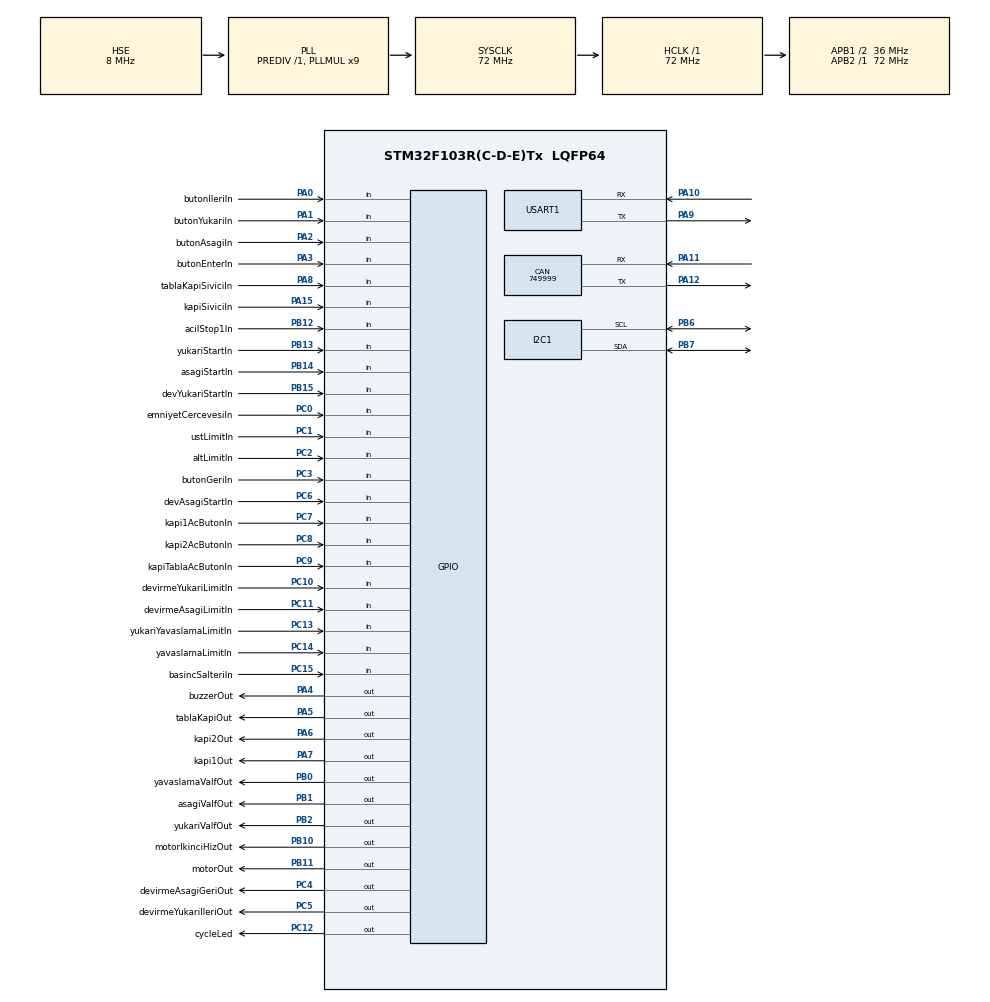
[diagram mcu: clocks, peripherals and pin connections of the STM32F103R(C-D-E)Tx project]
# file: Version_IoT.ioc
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CAN.CalculateBaudRate=749999
CAN.CalculateTimeBit=1333
CAN.CalculateTimeQuantum=444.44444444444446
I2C1.I2C_Mode=I2C_Fast
Mcu.Family=STM32F1
Mcu.Name=STM32F103R(C-D-E)Tx
Mcu.Package=LQFP64
NVIC.PriorityGroup=NVIC_PRIORITYGROUP_4
NVIC.TIM1_UP_IRQn=true\:0\:0\:false\:false\:true\:true\:true\:true
NVIC.USART1_IRQn=true\:0\:0\:false\:false\:true\:true\:true\:true
PA0-WKUP.GPIO_Label=butonIleriIn
PA0-WKUP.Signal=GPIO_Input
PA1.GPIO_Label=butonYukariIn
PA1.Signal=GPIO_Input
PA10.Mode=Asynchronous
PA10.Signal=USART1_RX
PA11.Mode=CAN_Activate
PA11.Signal=CAN_RX
PA12.Mode=CAN_Activate
PA12.Signal=CAN_TX
PA13.Mode=Serial_Wire
PA13.Signal=SYS_JTMS-SWDIO
PA14.Mode=Serial_Wire
PA14.Signal=SYS_JTCK-SWCLK
PA15.GPIO_Label=kapiSiviciIn
PA15.Signal=GPIO_Input
PA2.GPIO_Label=butonAsagiIn
PA2.Signal=GPIO_Input
PA3.GPIO_Label=butonEnterIn
PA3.Signal=GPIO_Input
PA4.GPIO_Label=buzzerOut
PA4.Signal=GPIO_Output
PA5.GPIO_Label=tablaKapiOut
PA5.Signal=GPIO_Output
PA6.GPIO_Label=kapi2Out
PA6.Signal=GPIO_Output
PA7.GPIO_Label=kapi1Out
PA7.Signal=GPIO_Output
PA8.GPIO_Label=tablaKapiSiviciIn
PA8.Signal=GPIO_Input
PA9.Mode=Asynchronous
PA9.Signal=USART1_TX
PB0.GPIO_Label=yavaslamaValfOut
PB0.Signal=GPIO_Output
PB1.GPIO_Label=asagiValfOut
PB1.Signal=GPIO_Output
PB10.GPIO_Label=motorIkinciHizOut
PB10.Signal=GPIO_Output
PB11.GPIO_Label=motorOut
PB11.Signal=GPIO_Output
PB12.GPIO_Label=acilStop1In
PB12.Signal=GPIO_Input
PB13.GPIO_Label=yukariStartIn
PB13.Signal=GPIO_Input
PB14.GPIO_Label=asagiStartIn
PB14.Signal=GPIO_Input
PB15.GPIO_Label=devYukariStartIn
PB15.Signal=GPIO_Input
PB2.GPIO_Label=yukariValfOut
PB2.Signal=GPIO_Output
PB6.Mode=I2C
PB6.Signal=I2C1_SCL
PB7.Mode=I2C
PB7.Signal=I2C1_SDA
PC0.GPIO_Label=emniyetCercevesiIn
PC0.Signal=GPIO_Input
PC1.GPIO_Label=ustLimitIn
PC1.Signal=GPIO_Input
PC10.GPIO_Label=devirmeYukariLimitIn
PC10.Signal=GPIO_Input
PC11.GPIO_Label=devirmeAsagiLimitIn
PC11.Signal=GPIO_Input
PC12.GPIO_Label=cycleLed
PC12.Signal=GPIO_Output
PC13-TAMPER-RTC.GPIO_Label=yukariYavaslamaLimitIn
PC13-TAMPER-RTC.Signal=GPIO_Input
PC14-OSC32_IN.GPIO_Label=yavaslamaLimitIn
PC14-OSC32_IN.Signal=GPIO_Input
PC15-OSC32_OUT.GPIO_Label=basincSalteriIn
PC15-OSC32_OUT.Signal=GPIO_Input
PC2.GPIO_Label=altLimitIn
PC2.Signal=GPIO_Input
PC3.GPIO_Label=butonGeriIn
PC3.Signal=GPIO_Input
PC4.GPIO_Label=devirmeAsagiGeriOut
PC4.Signal=GPIO_Output
PC5.GPIO_Label=devirmeYukariIleriOut
PC5.Signal=GPIO_Output
PC6.GPIO_Label=devAsagiStartIn
PC6.Signal=GPIO_Input
PC7.GPIO_Label=kapi1AcButonIn
PC7.Signal=GPIO_Input
PC8.GPIO_Label=kapi2AcButonIn
PC8.Signal=GPIO_Input
PC9.GPIO_Label=kapiTablaAcButonIn
PC9.Signal=GPIO_Input
PD0-OSC_IN.Mode=HSE-External-Oscillator
PD0-OSC_IN.Signal=RCC_OSC_IN
PD1-OSC_OUT.Mode=HSE-External-Oscillator
PD1-OSC_OUT.Signal=RCC_OSC_OUT
ProjectManager.HeapSize=0x200
ProjectManager.StackSize=0x400
ProjectManager.TargetToolchain=STM32CubeIDE
RCC.AHBFreq_Value=72000000
RCC.APB1CLKDivider=RCC_HCLK_DIV2
RCC.APB1Freq_Value=36000000
RCC.APB1TimFreq_Value=72000000
RCC.APB2Freq_Value=72000000
RCC.APB2TimFreq_Value=72000000
RCC.HCLKFreq_Value=72000000
RCC.PLLMUL=RCC_PLL_MUL9
RCC.PLLSourceVirtual=RCC_PLLSOURCE_HSE
RCC.SYSCLKFreq_VALUE=72000000
RCC.SYSCLKSource=RCC_SYSCLKSOURCE_PLLCLK
RCC.USBFreq_Value=72000000
TIM1.Period=1999
TIM1.Prescaler=35999
USART1.VirtualMode=VM_ASYNC
VP_TIM1_VS_ClockSourceINT.Mode=Internal
board=custom

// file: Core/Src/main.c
/* USER CODE BEGIN Header */
/* USER CODE END Header */
#include "main.h"

/* USER CODE BEGIN Includes */
#include "WifiCommands.h"
#include "GlobalVariables.h"
#include "Process.h"
#include "HardwareTest.h"
#include "EEPROMProcess.h"
#include "WifiProcess.h"
#include "TextVariables.h"
#include "Translation.h"
#include "i2c-lcd.h"
#include "ESPDriver.h"
/* USER CODE END Includes */

/* USER CODE BEGIN PTD */
CAN_HandleTypeDef hcan;
I2C_HandleTypeDef hi2c1;
TIM_HandleTypeDef htim1;
UART_HandleTypeDef huart1;
/* USER CODE END PTD */

void SystemClock_Config(void);
static void MX_GPIO_Init(void);
static void MX_CAN_Init(void);
static void MX_I2C1_Init(void);
static void MX_TIM1_Init(void);
static void MX_USART1_UART_Init(void);

/* USER CODE BEGIN 0 */

void HAL_TIM_PeriodElapsedCallback(TIM_HandleTypeDef *htim) { /*------timer kesmesinde islem yapmak için */
	millis=millis+1;
}

void HAL_UART_RxCpltCallback(UART_HandleTypeDef *huart) {
    if (huart->Instance == USART1) {
        HAL_UART_AbortReceive_IT(&huart1);  // Güvenlik için veri alımını durdurun
        Wifi_RxCallBack(&huart1);  // Gelen veriyi işleyin
        HAL_UART_Receive_IT(&huart1, (uint8_t *)esp8266_rx_buffer, 1);  // Yeni veri alımına devam edin
    }
}
/* USER CODE END 0 */

int main(void)
{

  /* MCU Configuration--------------------------------------------------------*/

  /* Reset of all peripherals, Initializes the Flash interface and the Systick. */
  HAL_Init();

  /* USER CODE BEGIN Init */
  HAL_Delay(500);
  /* USER CODE END Init */

  /* Configure the system clock */
  SystemClock_Config();

  /* Initialize all configured peripherals */
  MX_GPIO_Init();
  MX_CAN_Init();
  MX_I2C1_Init();
  MX_TIM1_Init();
  MX_USART1_UART_Init();
  /* USER CODE BEGIN 2 */

  HAL_GPIO_WritePin(GPIOB, GPIO_PIN_6, GPIO_PIN_SET);
  HAL_GPIO_WritePin(GPIOB, GPIO_PIN_7, GPIO_PIN_SET);
  HAL_Delay(10);
  lcd_init();
  HAL_Delay(10);

  HAL_TIM_Base_Start_IT(&htim1);
  while(HAL_I2C_GetError(&hi2c1) == HAL_I2C_ERROR_AF);
  while (HAL_I2C_GetState(&hi2c1) != HAL_I2C_STATE_READY);

  HAL_GPIO_WritePin(motorOut_GPIO_Port, motorOut_Pin, GPIO_PIN_RESET);
  HAL_GPIO_WritePin(motorIkinciHizOut_GPIO_Port, motorIkinciHizOut_Pin, GPIO_PIN_RESET);
  HAL_GPIO_WritePin(yukariValfOut_GPIO_Port, yukariValfOut_Pin, GPIO_PIN_RESET);
  HAL_GPIO_WritePin(asagiValfOut_GPIO_Port, asagiValfOut_Pin, GPIO_PIN_RESET);
  HAL_GPIO_WritePin(yavaslamaValfOut_GPIO_Port, yavaslamaValfOut_Pin, GPIO_PIN_RESET);
  HAL_GPIO_WritePin(devirmeYukariIleriOut_GPIO_Port, devirmeYukariIleriOut_Pin, GPIO_PIN_RESET);
  HAL_GPIO_WritePin(devirmeAsagiGeriOut_GPIO_Port, devirmeAsagiGeriOut_Pin, GPIO_PIN_RESET);
  HAL_GPIO_WritePin(kapi1Out_GPIO_Port, kapi1Out_Pin, GPIO_PIN_RESET);
  HAL_GPIO_WritePin(kapi2Out_GPIO_Port, kapi2Out_Pin, GPIO_PIN_RESET);
  HAL_GPIO_WritePin(tablaKapiOut_GPIO_Port, tablaKapiOut_Pin, GPIO_PIN_RESET);
  HAL_GPIO_WritePin(buzzerOut_GPIO_Port, buzzerOut_Pin, GPIO_PIN_RESET);

  i2cTest();
  HAL_Delay(100);
  lcd_print(1, 1, splashTextGN);
  lcd_print(2, 1, splashText2GN);
  HAL_Delay(1000);
  lcd_clear();

  eepromKontrol();
  HAL_Delay(500);

  backLightTimer = millis;

  //IoT Section:
  iotSetup();

  //checkForUpdates(&huart1, "1.0.0");

  /* USER CODE END 2 */

  /* Infinite loop */
  while (1)
  {
	  mainLoop();
  }
}

void SystemClock_Config(void)
{
  RCC_OscInitTypeDef RCC_OscInitStruct = {0};
  RCC_ClkInitTypeDef RCC_ClkInitStruct = {0};

  /** Initializes the RCC Oscillators according to the specified parameters
  * in the RCC_OscInitTypeDef structure.
  */
  RCC_OscInitStruct.OscillatorType = RCC_OSCILLATORTYPE_HSE;
  RCC_OscInitStruct.HSEState = RCC_HSE_ON;
  RCC_OscInitStruct.HSEPredivValue = RCC_HSE_PREDIV_DIV1;
  RCC_OscInitStruct.HSIState = RCC_HSI_ON;
  RCC_OscInitStruct.PLL.PLLState = RCC_PLL_ON;
  RCC_OscInitStruct.PLL.PLLSource = RCC_PLLSOURCE_HSE;
  RCC_OscInitStruct.PLL.PLLMUL = RCC_PLL_MUL9;
  if (HAL_RCC_OscConfig(&RCC_OscInitStruct) != HAL_OK)
  {
    Error_Handler();
  }

  /** Initializes the CPU, AHB and APB buses clocks
  */
  RCC_ClkInitStruct.ClockType = RCC_CLOCKTYPE_HCLK|RCC_CLOCKTYPE_SYSCLK
                              |RCC_CLOCKTYPE_PCLK1|RCC_CLOCKTYPE_PCLK2;
  RCC_ClkInitStruct.SYSCLKSource = RCC_SYSCLKSOURCE_PLLCLK;
  RCC_ClkInitStruct.AHBCLKDivider = RCC_SYSCLK_DIV1;
  RCC_ClkInitStruct.APB1CLKDivider = RCC_HCLK_DIV2;
  RCC_ClkInitStruct.APB2CLKDivider = RCC_HCLK_DIV1;

  if (HAL_RCC_ClockConfig(&RCC_ClkInitStruct, FLASH_LATENCY_2) != HAL_OK)
  {
    Error_Handler();
  }
}

static void MX_CAN_Init(void)
{

  hcan.Instance = CAN1;
  hcan.Init.Prescaler = 16;
  hcan.Init.Mode = CAN_MODE_NORMAL;
  hcan.Init.SyncJumpWidth = CAN_SJW_1TQ;
  hcan.Init.TimeSeg1 = CAN_BS1_1TQ;
  hcan.Init.TimeSeg2 = CAN_BS2_1TQ;
  hcan.Init.TimeTriggeredMode = DISABLE;
  hcan.Init.AutoBusOff = DISABLE;
  hcan.Init.AutoWakeUp = DISABLE;
  hcan.Init.AutoRetransmission = DISABLE;
  hcan.Init.ReceiveFifoLocked = DISABLE;
  hcan.Init.TransmitFifoPriority = DISABLE;
  if (HAL_CAN_Init(&hcan) != HAL_OK)
  {
    Error_Handler();
  }

}

static void MX_I2C1_Init(void)
{

  hi2c1.Instance = I2C1;
  hi2c1.Init.ClockSpeed = 400000;
  hi2c1.Init.DutyCycle = I2C_DUTYCYCLE_2;
  hi2c1.Init.OwnAddress1 = 0;
  hi2c1.Init.AddressingMode = I2C_ADDRESSINGMODE_7BIT;
  hi2c1.Init.DualAddressMode = I2C_DUALADDRESS_DISABLE;
  hi2c1.Init.OwnAddress2 = 0;
  hi2c1.Init.GeneralCallMode = I2C_GENERALCALL_DISABLE;
  hi2c1.Init.NoStretchMode = I2C_NOSTRETCH_DISABLE;
  if (HAL_I2C_Init(&hi2c1) != HAL_OK)
  {
    Error_Handler();
  }

}

static void MX_TIM1_Init(void)
{

  TIM_ClockConfigTypeDef sClockSourceConfig = {0};
  TIM_MasterConfigTypeDef sMasterConfig = {0};

  htim1.Instance = TIM1;
  htim1.Init.Prescaler = 35999;
  htim1.Init.CounterMode = TIM_COUNTERMODE_UP;
  htim1.Init.Period = 1999;
  htim1.Init.ClockDivision = TIM_CLOCKDIVISION_DIV1;
  htim1.Init.RepetitionCounter = 0;
  htim1.Init.AutoReloadPreload = TIM_AUTORELOAD_PRELOAD_DISABLE;
  if (HAL_TIM_Base_Init(&htim1) != HAL_OK)
  {
    Error_Handler();
  }
  sClockSourceConfig.ClockSource = TIM_CLOCKSOURCE_INTERNAL;
  if (HAL_TIM_ConfigClockSource(&htim1, &sClockSourceConfig) != HAL_OK)
  {
    Error_Handler();
  }
  sMasterConfig.MasterOutputTrigger = TIM_TRGO_RESET;
  sMasterConfig.MasterSlaveMode = TIM_MASTERSLAVEMODE_DISABLE;
  if (HAL_TIMEx_MasterConfigSynchronization(&htim1, &sMasterConfig) != HAL_OK)
  {
    Error_Handler();
  }

}

static void MX_USART1_UART_Init(void)
{

  huart1.Instance = USART1;
  huart1.Init.BaudRate = 115200;
  huart1.Init.WordLength = UART_WORDLENGTH_8B;
  huart1.Init.StopBits = UART_STOPBITS_1;
  huart1.Init.Parity = UART_PARITY_NONE;
  huart1.Init.Mode = UART_MODE_TX_RX;
  huart1.Init.HwFlowCtl = UART_HWCONTROL_NONE;
  huart1.Init.OverSampling = UART_OVERSAMPLING_16;
  if (HAL_UART_Init(&huart1) != HAL_OK)
  {
    Error_Handler();
  }

}

static void MX_GPIO_Init(void)
{
  GPIO_InitTypeDef GPIO_InitStruct = {0};

  /* GPIO Ports Clock Enable */
  __HAL_RCC_GPIOC_CLK_ENABLE();
  __HAL_RCC_GPIOD_CLK_ENABLE();
  __HAL_RCC_GPIOA_CLK_ENABLE();
  __HAL_RCC_GPIOB_CLK_ENABLE();

  /*Configure GPIO pin Output Level */
  HAL_GPIO_WritePin(GPIOA, buzzerOut_Pin|tablaKapiOut_Pin|kapi2Out_Pin|kapi1Out_Pin, GPIO_PIN_RESET);

  /*Configure GPIO pin Output Level */
  HAL_GPIO_WritePin(GPIOC, devirmeAsagiGeriOut_Pin|devirmeYukariIleriOut_Pin|cycleLed_Pin, GPIO_PIN_RESET);

  /*Configure GPIO pin Output Level */
  HAL_GPIO_WritePin(GPIOB, yavaslamaValfOut_Pin|asagiValfOut_Pin|yukariValfOut_Pin|motorIkinciHizOut_Pin
                          |motorOut_Pin, GPIO_PIN_RESET);

  /*Configure GPIO pins : yukariYavaslamaLimitIn_Pin yavaslamaLimitIn_Pin basincSalteriIn_Pin emniyetCercevesiIn_Pin
                           ustLimitIn_Pin altLimitIn_Pin butonGeriIn_Pin devAsagiStartIn_Pin
                           kapi1AcButonIn_Pin kapi2AcButonIn_Pin kapiTablaAcButonIn_Pin devirmeYukariLimitIn_Pin
                           devirmeAsagiLimitIn_Pin */
  GPIO_InitStruct.Pin = yukariYavaslamaLimitIn_Pin|yavaslamaLimitIn_Pin|basincSalteriIn_Pin|emniyetCercevesiIn_Pin
                          |ustLimitIn_Pin|altLimitIn_Pin|butonGeriIn_Pin|devAsagiStartIn_Pin
                          |kapi1AcButonIn_Pin|kapi2AcButonIn_Pin|kapiTablaAcButonIn_Pin|devirmeYukariLimitIn_Pin
                          |devirmeAsagiLimitIn_Pin;
  GPIO_InitStruct.Mode = GPIO_MODE_INPUT;
  GPIO_InitStruct.Pull = GPIO_NOPULL;
  HAL_GPIO_Init(GPIOC, &GPIO_InitStruct);

  /*Configure GPIO pins : butonIleriIn_Pin butonYukariIn_Pin butonAsagiIn_Pin butonEnterIn_Pin
                           tablaKapiSiviciIn_Pin kapiSiviciIn_Pin */
  GPIO_InitStruct.Pin = butonIleriIn_Pin|butonYukariIn_Pin|butonAsagiIn_Pin|butonEnterIn_Pin
                          |tablaKapiSiviciIn_Pin|kapiSiviciIn_Pin;
  GPIO_InitStruct.Mode = GPIO_MODE_INPUT;
  GPIO_InitStruct.Pull = GPIO_NOPULL;
  HAL_GPIO_Init(GPIOA, &GPIO_InitStruct);

  /*Configure GPIO pins : buzzerOut_Pin tablaKapiOut_Pin kapi2Out_Pin kapi1Out_Pin */
  GPIO_InitStruct.Pin = buzzerOut_Pin|tablaKapiOut_Pin|kapi2Out_Pin|kapi1Out_Pin;
  GPIO_InitStruct.Mode = GPIO_MODE_OUTPUT_PP;
  GPIO_InitStruct.Pull = GPIO_NOPULL;
  GPIO_InitStruct.Speed = GPIO_SPEED_FREQ_LOW;
  HAL_GPIO_Init(GPIOA, &GPIO_InitStruct);

  /*Configure GPIO pins : devirmeAsagiGeriOut_Pin devirmeYukariIleriOut_Pin cycleLed_Pin */
  GPIO_InitStruct.Pin = devirmeAsagiGeriOut_Pin|devirmeYukariIleriOut_Pin|cycleLed_Pin;
  GPIO_InitStruct.Mode = GPIO_MODE_OUTPUT_PP;
  GPIO_InitStruct.Pull = GPIO_NOPULL;
  GPIO_InitStruct.Speed = GPIO_SPEED_FREQ_LOW;
  HAL_GPIO_Init(GPIOC, &GPIO_InitStruct);

  /*Configure GPIO pins : yavaslamaValfOut_Pin asagiValfOut_Pin yukariValfOut_Pin motorIkinciHizOut_Pin
                           motorOut_Pin */
  GPIO_InitStruct.Pin = yavaslamaValfOut_Pin|asagiValfOut_Pin|yukariValfOut_Pin|motorIkinciHizOut_Pin
                          |motorOut_Pin;
  GPIO_InitStruct.Mode = GPIO_MODE_OUTPUT_PP;
  GPIO_InitStruct.Pull = GPIO_NOPULL;
  GPIO_InitStruct.Speed = GPIO_SPEED_FREQ_LOW;
  HAL_GPIO_Init(GPIOB, &GPIO_InitStruct);

  /*Configure GPIO pins : acilStop1In_Pin yukariStartIn_Pin asagiStartIn_Pin devYukariStartIn_Pin */
  GPIO_InitStruct.Pin = acilStop1In_Pin|yukariStartIn_Pin|asagiStartIn_Pin|devYukariStartIn_Pin;
  GPIO_InitStruct.Mode = GPIO_MODE_INPUT;
  GPIO_InitStruct.Pull = GPIO_NOPULL;
  HAL_GPIO_Init(GPIOB, &GPIO_InitStruct);

}

void Error_Handler(void)
{
}
